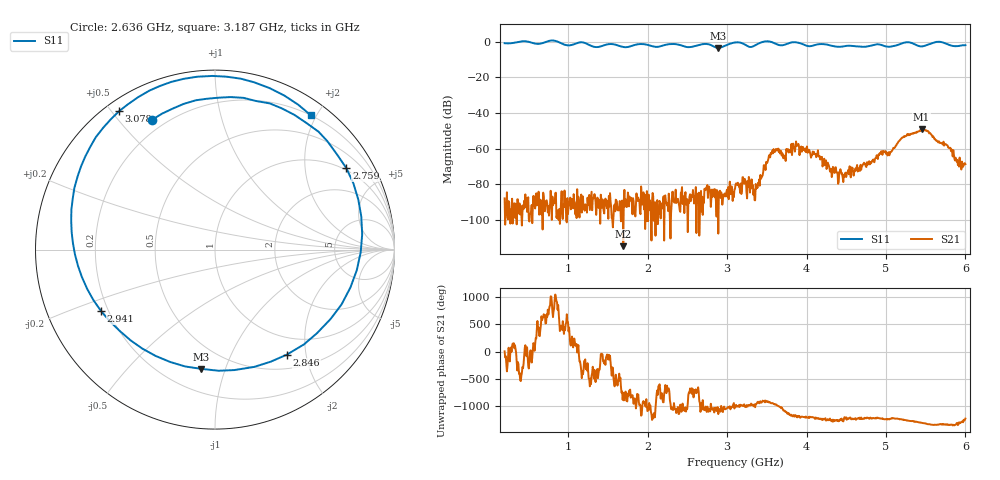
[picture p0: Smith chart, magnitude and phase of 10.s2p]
! NanoVNA-App by OneOfEleven et al v1.1.209 (+OD15)
! Date: 2024-07-30 15:11:49
! Start: 200MHz Stop: 6GHz Points: 801
! S-Parameter data: F S11 S21 S12 S22
# Hz S RI R 50
!  Frequency  S11_Real  S11_Imag  S21_Real  S21_Imag  S12_Real  S12_Imag  S22_Real  S22_Imag
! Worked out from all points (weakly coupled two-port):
!   801 points, 200 MHz to 6 GHz, reference 50 ohm
!   highest |S21| = -49.14 dB at 5.449 GHz (marker M1); lowest = -114.6 dB at 1.694 GHz (marker M2)
!   lowest |S11| = -3.5 dB at 2.882 GHz (marker M3), VSWR 5.04, Z = 17.2 - j41.5 ohm
!   |S11| at or under -10 dB: nowhere
!   S12 and S22 are empty: the file has one direction only
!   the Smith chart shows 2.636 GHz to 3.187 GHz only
!   S11 on the Smith chart (normalised r, x): 2.636 GHz: 0.15, +0.62; 2.759 GHz: 0.93, +3.27; 2.846 GHz: 0.71, -1.66; 2.941 GHz: 0.17, -0.25; 3.078 GHz: 0.04, +0.52; 3.187 GHz: 0.20, +1.93
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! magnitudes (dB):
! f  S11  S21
! 200 MHz  -0.8  -87.8
! 1.171 GHz  -0.3  -95.8
! 1.694 GHz  -2.9  -114.6
! 2.136 GHz  -2.8  -96.0
! 2.636 GHz  -1.9  -90.5
! 2.759 GHz  -1.3  -87.6
! 2.846 GHz  -3.0  -87.2
! 2.882 GHz  -3.5  -87.2
! 2.941 GHz  -2.8  -91.3
! 3.078 GHz  -0.6  -84.6
! 3.1 GHz  -0.4  -82.5
! 3.187 GHz  -0.7  -83.7
! 3.383 GHz  -1.3  -82.0
! 3.615 GHz  -1.2  -60.1
! 3.709 GHz  -1.8  -65.4
! 3.876 GHz  -0.3  -58.4
! 4.072 GHz  -2.3  -63.6
! 4.478 GHz  -2.5  -75.7
! 5.036 GHz  -2.8  -61.9
! 5.21 GHz  -0.8  -53.7
! 5.449 GHz  -2.6  -49.1
! 6 GHz  -1.9  -68.6
